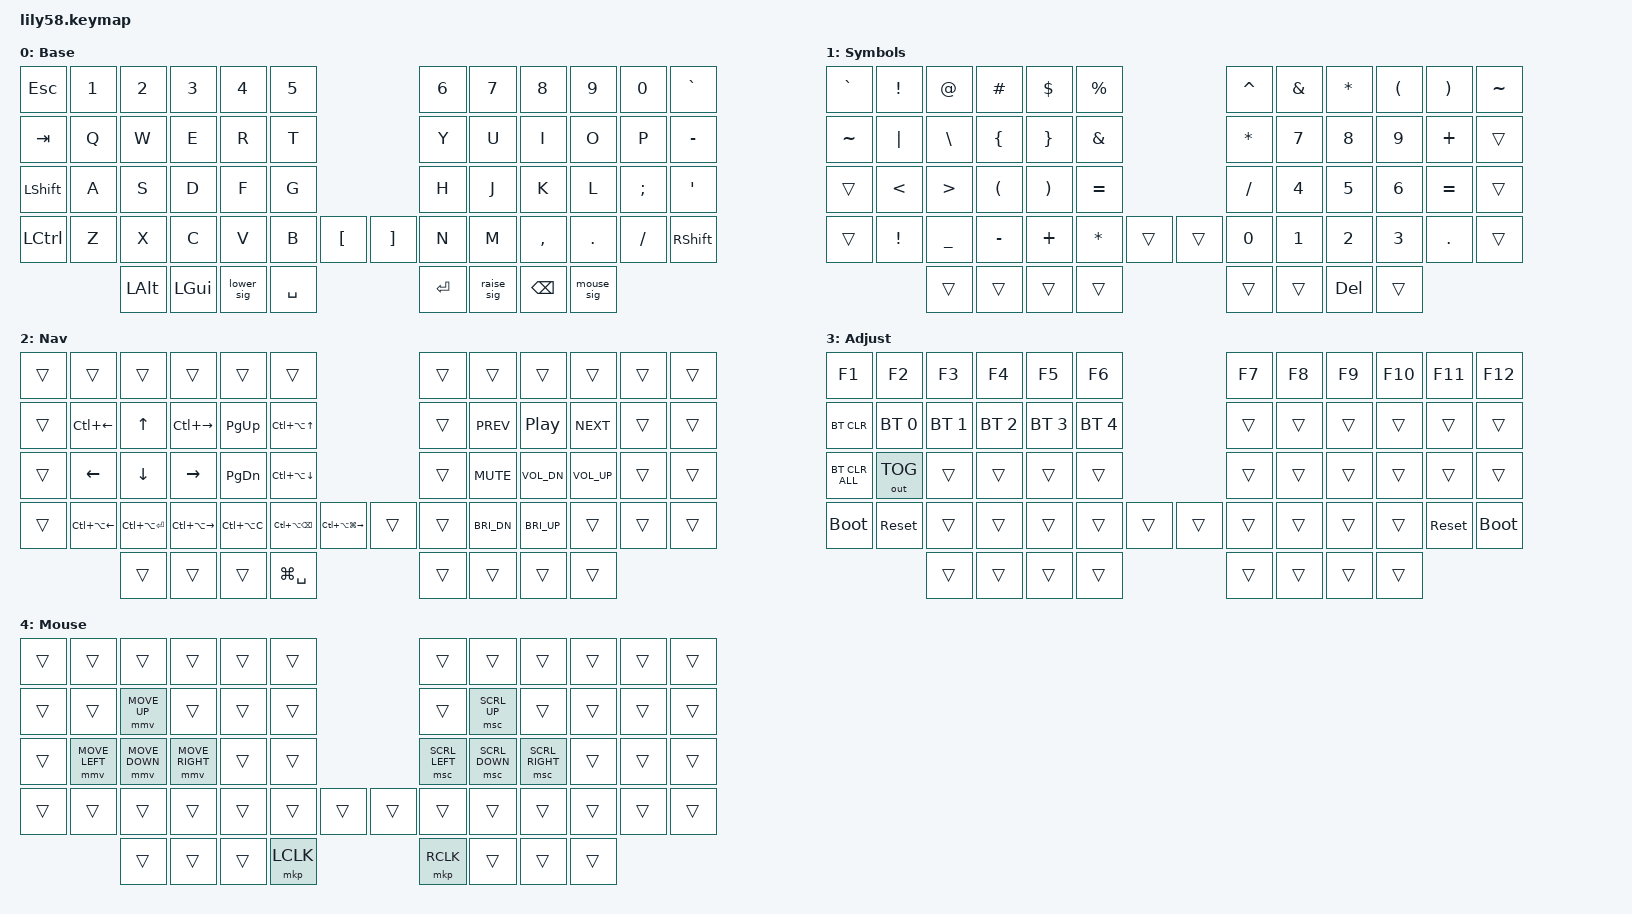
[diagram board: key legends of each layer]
/*
 * Lily58 keymap — macOS, classic modifier placement.
 *
 * Layers
 *   BASE    QWERTY
 *   LOWER   hold left inner thumb   symbols (left hand) + numpad (right hand)
 *   RAISE   hold right inner thumb  arrows on WASD (left hand) + media (right hand)
 *   ADJUST  hold LOWER + RAISE      F keys, Bluetooth, bootloader
 *   MOUSE   hold right outer thumb  pointer (WASD) + scroll (right hand)
 *
 * Combo: both shifts together = caps word.
 *
 * Layer signals: while a layer key is held it also holds F16 (LOWER),
 * F17 (RAISE) or F18 (MOUSE). hammerspoon/lily58_layers.lua swallows these
 * on the Mac and shows the active layer on screen.
 *
 * Key positions
 *    0  1  2  3  4  5                6  7  8  9 10 11
 *   12 13 14 15 16 17               18 19 20 21 22 23
 *   24 25 26 27 28 29               30 31 32 33 34 35
 *   36 37 38 39 40 41 42         43 44 45 46 47 48 49
 *               50 51 52 53   54 55 56 57
 */

#include <behaviors.dtsi>
#include <dt-bindings/zmk/bt.h>
#include <dt-bindings/zmk/keys.h>
#include <dt-bindings/zmk/outputs.h>
#include <dt-bindings/zmk/pointing.h>

#define BASE   0
#define LOWER  1
#define RAISE  2
#define ADJUST 3
#define MOUSE  4

&caps_word {
    continue-list = <UNDERSCORE BACKSPACE DELETE F16 F17 F18>;
};

/ {
    macros {
        lower_sig: lower_sig {
            compatible = "zmk,behavior-macro";
            #binding-cells = <0>;
            bindings = <&macro_press &mo LOWER &kp F16>,
                       <&macro_pause_for_release>,
                       <&macro_release &kp F16 &mo LOWER>;
        };

        raise_sig: raise_sig {
            compatible = "zmk,behavior-macro";
            #binding-cells = <0>;
            bindings = <&macro_press &mo RAISE &kp F17>,
                       <&macro_pause_for_release>,
                       <&macro_release &kp F17 &mo RAISE>;
        };

        mouse_sig: mouse_sig {
            compatible = "zmk,behavior-macro";
            #binding-cells = <0>;
            bindings = <&macro_press &mo MOUSE &kp F18>,
                       <&macro_pause_for_release>,
                       <&macro_release &kp F18 &mo MOUSE>;
        };
    };

    combos {
        compatible = "zmk,combos";

        caps_word_combo {
            timeout-ms = <50>;
            key-positions = <24 49>;
            layers = <BASE>;
            bindings = <&caps_word>;
        };
    };

    conditional_layers {
        compatible = "zmk,conditional-layers";

        adjust {
            if-layers = <LOWER RAISE>;
            then-layer = <ADJUST>;
        };
    };

    keymap {
        compatible = "zmk,keymap";

        /*
         * ESC   1  2  3  4  5                 6  7  8  9  0  `
         * TAB   Q  W  E  R  T                 Y  U  I  O  P  -
         * SHIFT A  S  D  F  G                 H  J  K  L  ;  '
         * CTRL  Z  X  C  V  B  [           ]  N  M  ,  .  /  SHIFT
         *            ALT CMD LOWER SPACE   ENTER RAISE BSPC MOUSE
         */
        base_layer {
            display-name = "Base";
            bindings = <
    &kp ESC    &kp N1  &kp N2  &kp N3  &kp N4  &kp N5                          &kp N6  &kp N7  &kp N8     &kp N9   &kp N0    &kp GRAVE
    &kp TAB    &kp Q   &kp W   &kp E   &kp R   &kp T                           &kp Y   &kp U   &kp I      &kp O    &kp P     &kp MINUS
    &kp LSHFT  &kp A   &kp S   &kp D   &kp F   &kp G                           &kp H   &kp J   &kp K      &kp L    &kp SEMI  &kp SQT
    &kp LCTRL  &kp Z   &kp X   &kp C   &kp V   &kp B   &kp LBKT      &kp RBKT  &kp N   &kp M   &kp COMMA  &kp DOT  &kp FSLH  &kp RSHFT
                         &kp LALT  &kp LGUI  &lower_sig  &kp SPACE      &kp RET  &raise_sig  &kp BSPC  &mouse_sig
            >;
        };

        /*
         * `   !  @  #  $  %                 ^  &  *  (  )  ~
         * ~   |  \  {  }  &                 *  7  8  9  +  -
         * __  <  >  (  )  =                 /  4  5  6  =  '
         * __  !  _  -  +  *  __         __  0  1  2  3  .  __
         *            __  __  [held]  __   __  RAISE  DEL  __
         */
        lower_layer {
            display-name = "Symbols";
            bindings = <
    &kp GRAVE  &kp EXCL  &kp AT     &kp HASH   &kp DLLR  &kp PRCNT                   &kp CARET  &kp AMPS  &kp STAR  &kp LPAR  &kp RPAR   &kp TILDE
    &kp TILDE  &kp PIPE  &kp BSLH   &kp LBRC   &kp RBRC  &kp AMPS                    &kp STAR   &kp N7    &kp N8    &kp N9    &kp PLUS   &trans
    &trans     &kp LT    &kp GT     &kp LPAR   &kp RPAR  &kp EQUAL                   &kp FSLH   &kp N4    &kp N5    &kp N6    &kp EQUAL  &trans
    &trans     &kp EXCL  &kp UNDER  &kp MINUS  &kp PLUS  &kp STAR  &trans    &trans  &kp N0     &kp N1    &kp N2    &kp N3    &kp DOT    &trans
                                    &trans  &trans  &trans  &trans    &trans  &trans  &kp DEL  &trans
            >;
        };

        /*
         * __  __     __    __     __    __               __  __    __    __    __  __
         * __  SPC<   UP    SPC>   PGUP  W_TOP            __  PREV  PLAY  NEXT  __  __
         * __  LEFT   DOWN  RIGHT  PGDN  W_BOT            __  MUTE  VOL-  VOL+  __  __
         * __  W_LEFT W_MAX W_RGHT W_CTR W_UNDO W_DISP __ __  BRI-  BRI+  __    __  __
         *                  __  __  LOWER  RAYCAST    __  [held]  __  __
         *
         * RAYCAST is Cmd+Space.
         * SPC< / SPC> are Ctrl+Left / Ctrl+Right (switch macOS Space).
         * W_* are Rectangle's default window shortcuts (Ctrl+Opt+...): left/right/top/
         * bottom half, maximize, center, restore, and move to next display.
         */
        raise_layer {
            display-name = "Nav";
            bindings = <
    &trans  &trans            &trans           &trans             &trans         &trans                                             &trans  &trans         &trans         &trans         &trans  &trans
    &trans  &kp LC(LEFT)      &kp UP           &kp LC(RIGHT)      &kp PG_UP      &kp LC(LA(UP))                                     &trans  &kp C_PREV     &kp C_PP       &kp C_NEXT     &trans  &trans
    &trans  &kp LEFT          &kp DOWN         &kp RIGHT          &kp PG_DN      &kp LC(LA(DOWN))                                   &trans  &kp C_MUTE     &kp C_VOL_DN   &kp C_VOL_UP   &trans  &trans
    &trans  &kp LC(LA(LEFT))  &kp LC(LA(RET))  &kp LC(LA(RIGHT))  &kp LC(LA(C))  &kp LC(LA(BSPC))  &kp LC(LA(LG(RIGHT)))    &trans  &trans  &kp C_BRI_DN   &kp C_BRI_UP   &trans         &trans  &trans
                                               &trans  &trans  &trans  &kp LG(SPACE)    &trans  &trans  &trans  &trans
            >;
        };

        /*
         * F1      F2   F3   F4   F5   F6            F7  F8  F9  F10  F11  F12
         * BTCLR   BT0  BT1  BT2  BT3  BT4           __  __  __  __   __   __
         * CLRALL  USB/BLE  __  __  __  __           __  __  __  __   __   __
         * BOOT    RESET __  __  __  __  __      __  __  __  __  __   RESET BOOT
         *
         * BOOT / RESET act on the half they are pressed on.
         */
        adjust_layer {
            display-name = "Adjust";
            bindings = <
    &kp F1          &kp F2        &kp F3        &kp F4        &kp F5        &kp F6                          &kp F7  &kp F8  &kp F9  &kp F10  &kp F11     &kp F12
    &bt BT_CLR      &bt BT_SEL 0  &bt BT_SEL 1  &bt BT_SEL 2  &bt BT_SEL 3  &bt BT_SEL 4                    &trans  &trans  &trans  &trans   &trans      &trans
    &bt BT_CLR_ALL  &out OUT_TOG  &trans        &trans        &trans        &trans                          &trans  &trans  &trans  &trans   &trans      &trans
    &bootloader     &sys_reset    &trans        &trans        &trans        &trans        &trans    &trans  &trans  &trans  &trans  &trans   &sys_reset  &bootloader
                                                &trans  &trans  &trans  &trans    &trans  &trans  &trans  &trans
            >;
        };

        /*
         * __  __  __    __    __     __            __      __      __      __  __  __
         * __  __    UP    __     __  __            __      SCR_UP  __      __  __  __
         * __  LEFT  DOWN  RIGHT  __  __            SCR_L   SCR_DN  SCR_R   __  __  __
         * __  __  __    __    __     __  __    __  __      __      __      __  __  __
         *              __  __  __  LEFT click    RIGHT click  __  __  [held]
         */
        mouse_layer {
            display-name = "Mouse";
            bindings = <
    &trans  &trans  &trans           &trans           &trans            &trans                    &trans            &trans            &trans             &trans  &trans  &trans
    &trans  &trans           &mmv MOVE_UP     &trans            &trans  &trans                    &trans            &msc SCRL_UP      &trans             &trans  &trans  &trans
    &trans  &mmv MOVE_LEFT   &mmv MOVE_DOWN   &mmv MOVE_RIGHT   &trans  &trans                    &msc SCRL_LEFT    &msc SCRL_DOWN    &msc SCRL_RIGHT    &trans  &trans  &trans
    &trans  &trans  &trans           &trans           &trans            &trans  &trans    &trans  &trans            &trans            &trans             &trans  &trans  &trans
                                     &trans  &trans  &trans  &mkp LCLK    &mkp RCLK  &trans  &trans  &trans
            >;
        };
    };
};
